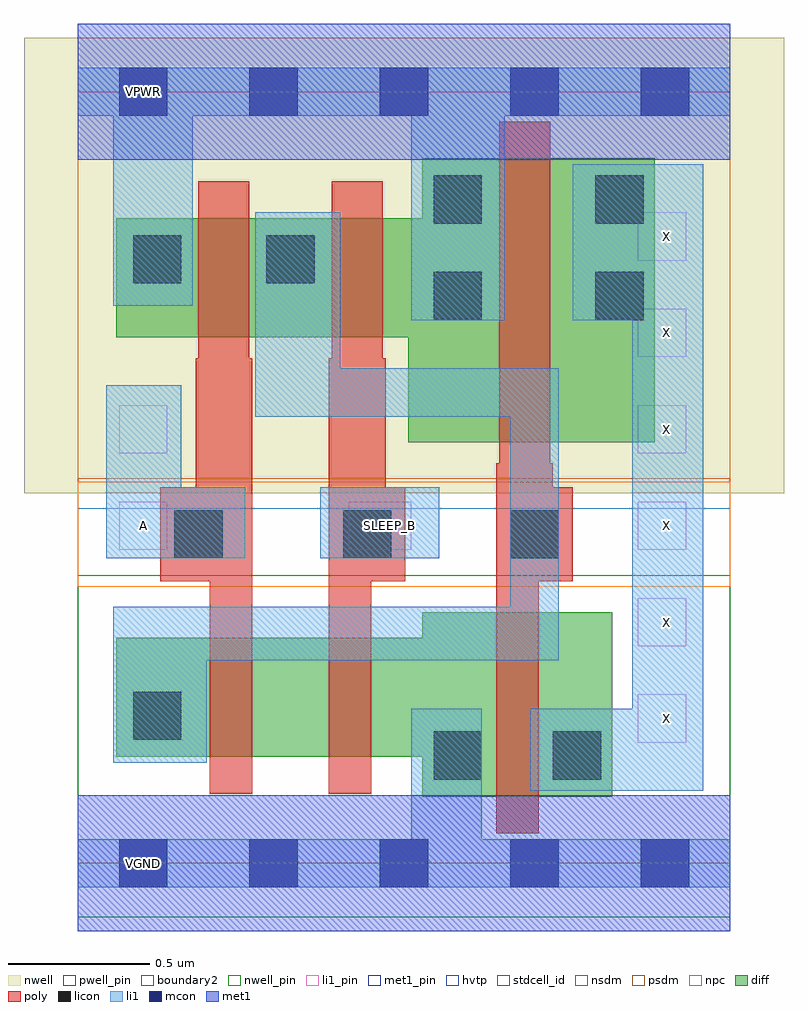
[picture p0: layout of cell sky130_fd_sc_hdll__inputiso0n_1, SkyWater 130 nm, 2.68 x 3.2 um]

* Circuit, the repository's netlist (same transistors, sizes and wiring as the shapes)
* Copyright 2020 The SkyWater PDK Authors
*
* Licensed under the Apache License, Version 2.0 (the "License");
* you may not use this file except in compliance with the License.
* You may obtain a copy of the License at
*
*     https://www.apache.org/licenses/LICENSE-2.0
*
* Unless required by applicable law or agreed to in writing, software
* distributed under the License is distributed on an "AS IS" BASIS,
* WITHOUT WARRANTIES OR CONDITIONS OF ANY KIND, either express or implied.
* See the License for the specific language governing permissions and
* limitations under the License.
*
* SPDX-License-Identifier: Apache-2.0

.SUBCKT sky130_fd_sc_hdll__inputiso0n_1 A SLEEP_B VGND VNB VPB VPWR X
*.PININFO A:I SLEEP_B:I VGND:I VNB:I VPB:I VPWR:I X:O
MI14 X net36 VGND VNB sky130_fd_pr__nfet_01v8 m=1 w=0.65U l=0.15U mult=1 sa=0.265
+ sb=0.265 sd=0.28 area=0.063 perim=1.14
MMN0 net36 A sndA VNB sky130_fd_pr__nfet_01v8 m=1 w=0.42U l=0.15U mult=1 sa=0.265
+ sb=0.265 sd=0.28 area=0.063 perim=1.14
MI13 sndA SLEEP_B VGND VNB sky130_fd_pr__nfet_01v8 m=1 w=0.42U l=0.15U mult=1 sa=0.265
+ sb=0.265 sd=0.28 area=0.063 perim=1.14
MMP1 net36 SLEEP_B VPWR VPB sky130_fd_pr__pfet_01v8_hvt m=1 w=0.42U l=0.18U mult=1
+ sa=0.265 sb=0.265 sd=0.28 area=0.063 perim=1.14
MI19 X net36 VPWR VPB sky130_fd_pr__pfet_01v8_hvt m=1 w=1.0U l=0.18U mult=1 sa=0.265
+ sb=0.265 sd=0.28 area=0.063 perim=1.14
MI17 net36 A VPWR VPB sky130_fd_pr__pfet_01v8_hvt m=1 w=0.42U l=0.18U mult=1 sa=0.265
+ sb=0.265 sd=0.28 area=0.063 perim=1.14
.ENDS sky130_fd_sc_hdll__inputiso0n_1

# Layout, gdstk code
import gdstk
lib = gdstk.Library(unit=1e-6, precision=1e-09)
def R(c, l, rs):  # rectangles x0, y0, x1, y1
    for r in rs: c.add(gdstk.rectangle(r[:2], r[2:], *l))
def A(c, l, x, y, w, h, nx, ny, dx, dy):  # array of equal rectangles
    R(c, l, [(x+i*dx, y+j*dy, x+i*dx+w, y+j*dy+h) for i in range(nx) for j in range(ny)])
def P(c, l, *ps):  # polygons
    for p in ps: c.add(gdstk.Polygon(p, *l))
nwell_pin = (64, 16)
nwell = (64, 20)
diff = (65, 20)
poly = (66, 20)
licon = (66, 44)
li1_pin = (67, 16)
li1 = (67, 20)
mcon = (67, 44)
met1_pin = (68, 16)
met1 = (68, 20)
hvtp = (78, 44)
stdcell_id = (81, 4)
nsdm = (93, 44)
psdm = (94, 20)
npc = (95, 20)
pwell_pin = (122, 16)
boundary2 = (236, 0)

sky130_fd_sc_hdll__input = lib.new_cell('sky130_fd_sc_hdll__inputiso0n_1')
R(sky130_fd_sc_hdll__input, nwell_pin, [(0.145,2.635,0.315,2.805)])
R(sky130_fd_sc_hdll__input, nwell, [(-0.19,1.305,2.49,2.91)])
P(sky130_fd_sc_hdll__input, diff, [(1.885,0.885),(1.215,0.885),(1.215,0.795),(0.135,0.795),(0.135,0.375),(1.215,0.375),(1.215,0.235),(1.885,0.235)],
  [(2.035,2.485),(1.215,2.485),(1.215,2.275),(0.135,2.275),(0.135,1.855),(1.165,1.855),(1.165,1.485),(2.035,1.485)])
P(sky130_fd_sc_hdll__input, poly, [(0.615,1.78),(0.605,1.78),(0.605,2.405),(0.425,2.405),(0.425,1.78),(0.415,1.78),(0.415,1.325),(0.29,1.325),(0.29,0.995),(0.465,0.995),(0.465,0.245),(0.615,0.245)],
  [(1.155,1.325),(1.085,1.325),(1.085,1.78),(1.075,1.78),(1.075,2.405),(0.895,2.405),(0.895,1.78),(0.885,1.78),(0.885,0.245),(1.035,0.245),(1.035,0.995),(1.155,0.995)],
  [(1.745,1.325),(1.675,1.325),(1.675,1.41),(1.665,1.41),(1.665,2.615),(1.485,2.615),(1.485,1.41),(1.475,1.41),(1.475,0.105),(1.625,0.105),(1.625,0.995),(1.745,0.995)])
R(sky130_fd_sc_hdll__input, licon, [(1.255,0.295,1.425,0.465), (1.675,0.295,1.845,0.465), (0.195,0.435,0.365,0.605), (0.34,1.075,0.51,1.245), (0.935,1.075,1.105,1.245), (1.525,1.075,1.695,1.245), (1.255,1.915,1.425,2.085), (1.825,1.915,1.995,2.085), (0.195,2.045,0.365,2.215), (0.665,2.045,0.835,2.215), (1.255,2.255,1.425,2.425), (1.825,2.255,1.995,2.425)])
A(sky130_fd_sc_hdll__input, li1_pin, 1.975, 0.425, 0.17, 0.17, 1, 6, 0, 0.34)
R(sky130_fd_sc_hdll__input, li1_pin, [(0.145,1.105,0.315,1.275), (0.955,1.105,1.175,1.275), (0.145,1.445,0.315,1.615)])
R(sky130_fd_sc_hdll__input, li1, [(0.855,1.075,1.275,1.325)])
P(sky130_fd_sc_hdll__input, li1, [(2.205,2.465),(1.745,2.465),(1.745,1.915),(1.955,1.915),(1.955,0.545),(1.595,0.545),(1.595,0.255),(2.205,0.255)],
  [(2.3,2.805),(0,2.805),(0,2.635),(0.125,2.635),(0.125,1.965),(0.405,1.965),(0.405,2.635),(1.175,2.635),(1.175,1.915),(1.505,1.915),(1.505,2.635),(2.3,2.635)],
  [(0.1,1.075),(0.1,1.685),(0.365,1.685),(0.365,1.325),(0.59,1.325),(0.59,1.075)],
  [(2.3,0.085),(1.425,0.085),(1.425,0.545),(1.175,0.545),(1.175,0.085),(0,0.085),(0,-0.085),(2.3,-0.085)],
  [(1.695,1.745),(0.925,1.745),(0.925,2.295),(0.625,2.295),(0.625,1.575),(1.525,1.575),(1.525,0.905),(0.125,0.905),(0.125,0.355),(0.455,0.355),(0.455,0.715),(1.695,0.715)])
A(sky130_fd_sc_hdll__input, mcon, 0.145, -0.085, 0.17, 0.17, 5, 2, 0.46, 2.72)
R(sky130_fd_sc_hdll__input, met1_pin, [(0.145,-0.085,0.315,0.085), (0.145,2.635,0.315,2.805)])
R(sky130_fd_sc_hdll__input, met1, [(0,-0.24,2.3,0.24), (0,2.48,2.3,2.96)])
R(sky130_fd_sc_hdll__input, hvtp, [(0,1.25,2.3,2.72)])
R(sky130_fd_sc_hdll__input, stdcell_id, [(0,0,2.3,2.72)])
R(sky130_fd_sc_hdll__input, nsdm, [(0,-0.19,2.3,1.015)])
R(sky130_fd_sc_hdll__input, psdm, [(0,1.355,2.3,2.91)])
R(sky130_fd_sc_hdll__input, npc, [(0,0.975,2.3,1.345)])
R(sky130_fd_sc_hdll__input, pwell_pin, [(0.145,-0.085,0.315,0.085)])
R(sky130_fd_sc_hdll__input, boundary2, [(0,0,2.3,2.72)])
sky130_fd_sc_hdll__input.add(gdstk.Label('VPWR', (0.23,2.72), layer=68, texttype=5))
sky130_fd_sc_hdll__input.add(gdstk.Label('VGND', (0.23,0), layer=68, texttype=5))
sky130_fd_sc_hdll__input.add(gdstk.Label('X', (2.075,0.85), layer=67, texttype=5))
sky130_fd_sc_hdll__input.add(gdstk.Label('X', (2.075,0.51), layer=67, texttype=5))
sky130_fd_sc_hdll__input.add(gdstk.Label('X', (2.075,1.19), layer=67, texttype=5))
sky130_fd_sc_hdll__input.add(gdstk.Label('X', (2.075,1.53), layer=67, texttype=5))
sky130_fd_sc_hdll__input.add(gdstk.Label('X', (2.075,1.87), layer=67, texttype=5))
sky130_fd_sc_hdll__input.add(gdstk.Label('X', (2.075,2.21), layer=67, texttype=5))
sky130_fd_sc_hdll__input.add(gdstk.Label('SLEEP_B', (1.1,1.19), layer=67, texttype=5))
sky130_fd_sc_hdll__input.add(gdstk.Label('A', (0.23,1.19), layer=67, texttype=5))
sky130_fd_sc_hdll__input.add(gdstk.Label('VPB', (0.23,2.72), layer=64, texttype=5))
sky130_fd_sc_hdll__input.add(gdstk.Label('VNB', (0.23,0), layer=64, texttype=59))
sky130_fd_sc_hdll__input.add(gdstk.Label('sky130_fd_sc_hdll__lpflow_inputiso0n_1', (0,0), layer=83, texttype=44))

lib.write_gds('sky130_fd_sc_hdll__inputiso0n_1.gds')
